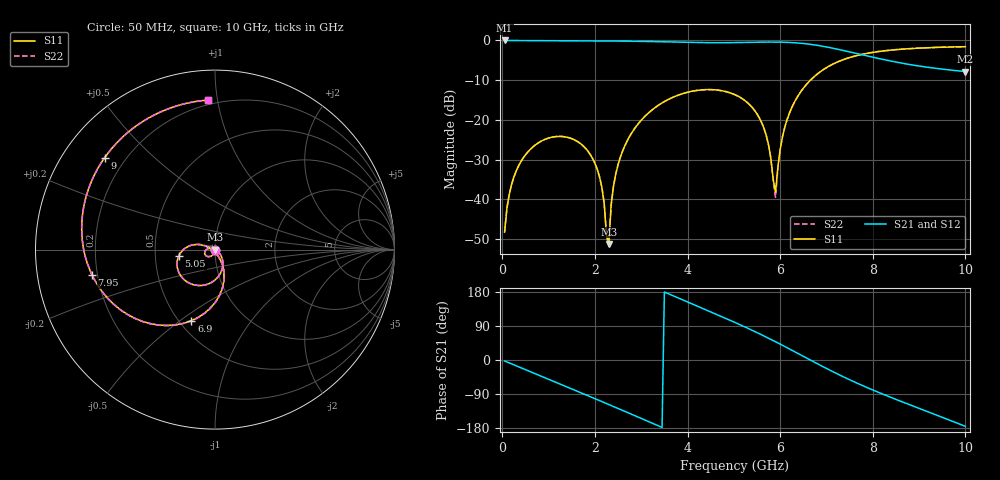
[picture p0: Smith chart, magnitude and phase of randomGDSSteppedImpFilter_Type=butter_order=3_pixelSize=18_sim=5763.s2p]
! freq	dB(S11)	phase(S11)	dB(S12)	phase(S12)
!  dB(S21)	phase(S21)	dB(S22)	phase(S22)
!S-par simulation data
#  GHz  S  DB  R 50
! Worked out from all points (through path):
!   200 points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, 50 MHz to 10 GHz, reference 50 ohm
!   highest |S21| = -0.01 dB at 50 MHz (marker M1); lowest = -7.8 dB at 10 GHz (marker M2)
!   group delay of S21, straight-line fit = 153 ps
!   lowest |S11| = -51.3 dB at 2.3 GHz (marker M3), VSWR 1.01, Z = 50.3 + j0.0201 ohm
!   |S11| at or under -10 dB: start of sweep to 6.655 GHz
!   |S22| runs from -51.8 to -1.6 dB; largest |S21 - S12| = 0
!   S11 on the Smith chart (normalised r, x): 50 MHz: 1.00, -0.01; 5.05 GHz: 0.66, -0.05; 6.9 GHz: 0.58, -0.55; 7.95 GHz: 0.18, -0.10; 9 GHz: 0.13, +0.36; 10 GHz: 0.17, +0.94
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0.05  -48.26 -91.5  -0.01 -2.6  -0.01 -2.6  -48.26 -91.5
0.2  -36.31 -100.1  -0.03 -10.3  -0.03 -10.3  -36.31 -100.1
0.55  -28.10 -118.4  -0.04 -28.1  -0.04 -28.1  -28.10 -118.4
1.15  -24.22 -149.5  -0.08 -58.5  -0.08 -58.5  -24.22 -149.4
1.75  -26.60 179.1  -0.11 -89.1  -0.11 -89.1  -26.60 179.3
2.1  -34.35 158.8  -0.12 -107.1  -0.12 -107.1  -34.35 159.6
2.3  -51.28 4.2  -0.14 -117.5  -0.14 -117.5  -51.80 -2.0
2.4  -36.76 -28.5  -0.14 -122.7  -0.14 -122.7  -36.79 -29.7
2.55  -29.37 -39.0  -0.16 -130.5  -0.16 -130.5  -29.38 -39.6
3.4  -16.09 -85.0  -0.33 -175.2  -0.33 -175.2  -16.10 -85.2
4.15  -12.68 -123.9  -0.53 145.5  -0.53 145.5  -12.69 -124.1
5.05  -13.81 -170.4  -0.54 97.8  -0.54 97.8  -13.81 -170.7
5.65  -22.11 160.9  -0.42 63.5  -0.42 63.5  -22.14 159.7
5.9  -38.22 -113.9  -0.41 48.2  -0.41 48.2  -39.48 -110.7
6  -27.42 -64.7  -0.43 42.0  -0.43 42.0  -27.51 -62.2
6.15  -19.92 -65.0  -0.48 32.5  -0.48 32.5  -19.94 -63.9
6.7  -9.49 -95.9  -1.06 -3.2  -1.06 -3.2  -9.49 -95.6
6.9  -7.60 -108.4  -1.43 -16.0  -1.43 -16.0  -7.60 -108.1
7.95  -3.10 -168.4  -4.10 -76.5  -4.10 -76.5  -3.10 -168.3
8.35  -2.49 171.4  -5.10 -96.7  -5.10 -96.7  -2.49 171.5
9  -1.94 140.2  -6.45 -127.7  -6.45 -127.7  -1.94 140.3
10  -1.58 92.6  -7.83 -175.2  -7.83 -175.2  -1.58 92.8
